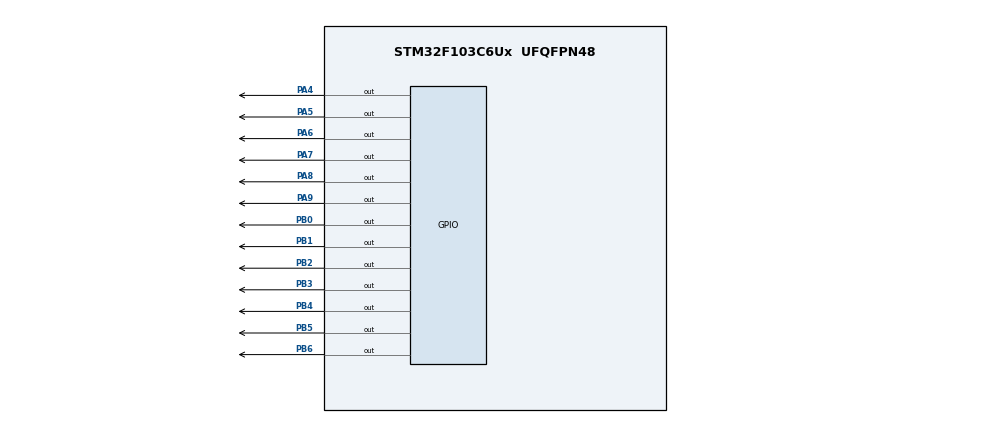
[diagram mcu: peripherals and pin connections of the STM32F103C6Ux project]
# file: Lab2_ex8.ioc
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Mcu.Family=STM32F1
Mcu.Name=STM32F103C6Ux
Mcu.Package=UFQFPN48
NVIC.PriorityGroup=NVIC_PRIORITYGROUP_4
NVIC.TIM2_IRQn=true\:0\:0\:false\:false\:true\:true\:true
PA4.Signal=GPIO_Output
PA5.Signal=GPIO_Output
PA6.Signal=GPIO_Output
PA7.Signal=GPIO_Output
PA8.Signal=GPIO_Output
PA9.Signal=GPIO_Output
PB0.Signal=GPIO_Output
PB1.Signal=GPIO_Output
PB2.Signal=GPIO_Output
PB3.Signal=GPIO_Output
PB4.Signal=GPIO_Output
PB5.Signal=GPIO_Output
PB6.Signal=GPIO_Output
ProjectManager.HeapSize=0x200
ProjectManager.StackSize=0x400
ProjectManager.TargetToolchain=STM32CubeIDE
RCC.APB1Freq_Value=8000000
RCC.APB2Freq_Value=8000000
TIM2.Period=249
TIM2.Prescaler=7999
VP_SYS_VS_ND.Mode=No_Debug
VP_TIM2_VS_ClockSourceINT.Mode=Internal
board=custom

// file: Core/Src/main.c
/* USER CODE BEGIN Header */
/**
  ******************************************************************************
  * @file           : main.c
  * @brief          : Main program body
  ******************************************************************************
  * @attention
  *
  * <h2><center>&copy; Copyright (c) 2025 STMicroelectronics.
  * All rights reserved.</center></h2>
  *
  * This software component is licensed by ST under BSD 3-Clause license,
  * the "License"; You may not use this file except in compliance with the
  * License. You may obtain a copy of the License at:
  *                        opensource.org/licenses/BSD-3-Clause
  *
  ******************************************************************************
  */
/* USER CODE END Header */
#include "main.h"

TIM_HandleTypeDef htim2;

void SystemClock_Config(void);
static void MX_GPIO_Init(void);
static void MX_TIM2_Init(void);

/* USER CODE BEGIN 0 */
void display7SEG(uint8_t num){
	if (num > 9) return;
	switch (num)
	{
	case 0:
		HAL_GPIO_WritePin(GPIOB, GPIO_PIN_0, GPIO_PIN_RESET);
		HAL_GPIO_WritePin(GPIOB, GPIO_PIN_1, GPIO_PIN_RESET);
		HAL_GPIO_WritePin(GPIOB, GPIO_PIN_2, GPIO_PIN_RESET);
		HAL_GPIO_WritePin(GPIOB, GPIO_PIN_3, GPIO_PIN_RESET);
		HAL_GPIO_WritePin(GPIOB, GPIO_PIN_4, GPIO_PIN_RESET);
		HAL_GPIO_WritePin(GPIOB, GPIO_PIN_5, GPIO_PIN_RESET);
		HAL_GPIO_WritePin(GPIOB, GPIO_PIN_6, GPIO_PIN_SET);
		break;
	case 1:
		HAL_GPIO_WritePin(GPIOB, GPIO_PIN_0, GPIO_PIN_SET);
		HAL_GPIO_WritePin(GPIOB, GPIO_PIN_1, GPIO_PIN_RESET);
		HAL_GPIO_WritePin(GPIOB, GPIO_PIN_2, GPIO_PIN_RESET);
		HAL_GPIO_WritePin(GPIOB, GPIO_PIN_3, GPIO_PIN_SET);
		HAL_GPIO_WritePin(GPIOB, GPIO_PIN_4, GPIO_PIN_SET);
		HAL_GPIO_WritePin(GPIOB, GPIO_PIN_5, GPIO_PIN_SET);
		HAL_GPIO_WritePin(GPIOB, GPIO_PIN_6, GPIO_PIN_SET);
		break;
	case 2:
		HAL_GPIO_WritePin(GPIOB, GPIO_PIN_0, GPIO_PIN_RESET);
		HAL_GPIO_WritePin(GPIOB, GPIO_PIN_1, GPIO_PIN_RESET);
		HAL_GPIO_WritePin(GPIOB, GPIO_PIN_2, GPIO_PIN_SET);
		HAL_GPIO_WritePin(GPIOB, GPIO_PIN_3, GPIO_PIN_RESET);
		HAL_GPIO_WritePin(GPIOB, GPIO_PIN_4, GPIO_PIN_RESET);
		HAL_GPIO_WritePin(GPIOB, GPIO_PIN_5, GPIO_PIN_SET);
		HAL_GPIO_WritePin(GPIOB, GPIO_PIN_6, GPIO_PIN_RESET);
		break;
	case 3:
		HAL_GPIO_WritePin(GPIOB, GPIO_PIN_0, GPIO_PIN_RESET);
		HAL_GPIO_WritePin(GPIOB, GPIO_PIN_1, GPIO_PIN_RESET);
		HAL_GPIO_WritePin(GPIOB, GPIO_PIN_2, GPIO_PIN_RESET);
		HAL_GPIO_WritePin(GPIOB, GPIO_PIN_3, GPIO_PIN_RESET);
		HAL_GPIO_WritePin(GPIOB, GPIO_PIN_4, GPIO_PIN_SET);
		HAL_GPIO_WritePin(GPIOB, GPIO_PIN_5, GPIO_PIN_SET);
		HAL_GPIO_WritePin(GPIOB, GPIO_PIN_6, GPIO_PIN_RESET);
		break;
	case 4:
        HAL_GPIO_WritePin(GPIOB, GPIO_PIN_0, GPIO_PIN_SET);
        HAL_GPIO_WritePin(GPIOB, GPIO_PIN_1, GPIO_PIN_RESET);
        HAL_GPIO_WritePin(GPIOB, GPIO_PIN_2, GPIO_PIN_RESET);
        HAL_GPIO_WritePin(GPIOB, GPIO_PIN_3, GPIO_PIN_SET);
        HAL_GPIO_WritePin(GPIOB, GPIO_PIN_4, GPIO_PIN_SET);
        HAL_GPIO_WritePin(GPIOB, GPIO_PIN_5, GPIO_PIN_RESET);
        HAL_GPIO_WritePin(GPIOB, GPIO_PIN_6, GPIO_PIN_RESET);
        break;
	case 5:
		HAL_GPIO_WritePin(GPIOB, GPIO_PIN_0, GPIO_PIN_RESET);
		HAL_GPIO_WritePin(GPIOB, GPIO_PIN_1, GPIO_PIN_SET);
		HAL_GPIO_WritePin(GPIOB, GPIO_PIN_2, GPIO_PIN_RESET);
		HAL_GPIO_WritePin(GPIOB, GPIO_PIN_3, GPIO_PIN_RESET);
		HAL_GPIO_WritePin(GPIOB, GPIO_PIN_4, GPIO_PIN_SET);
		HAL_GPIO_WritePin(GPIOB, GPIO_PIN_5, GPIO_PIN_RESET);
		HAL_GPIO_WritePin(GPIOB, GPIO_PIN_6, GPIO_PIN_RESET);
		break;
	case 6:
		HAL_GPIO_WritePin(GPIOB, GPIO_PIN_0, GPIO_PIN_RESET);
		HAL_GPIO_WritePin(GPIOB, GPIO_PIN_1, GPIO_PIN_SET);
		HAL_GPIO_WritePin(GPIOB, GPIO_PIN_2, GPIO_PIN_RESET);
		HAL_GPIO_WritePin(GPIOB, GPIO_PIN_3, GPIO_PIN_RESET);
		HAL_GPIO_WritePin(GPIOB, GPIO_PIN_4, GPIO_PIN_RESET);
		HAL_GPIO_WritePin(GPIOB, GPIO_PIN_5, GPIO_PIN_RESET);
		HAL_GPIO_WritePin(GPIOB, GPIO_PIN_6, GPIO_PIN_RESET);
		break;
	case 7:
		HAL_GPIO_WritePin(GPIOB, GPIO_PIN_0, GPIO_PIN_RESET);
		HAL_GPIO_WritePin(GPIOB, GPIO_PIN_1, GPIO_PIN_RESET);
		HAL_GPIO_WritePin(GPIOB, GPIO_PIN_2, GPIO_PIN_RESET);
		HAL_GPIO_WritePin(GPIOB, GPIO_PIN_3, GPIO_PIN_SET);
		HAL_GPIO_WritePin(GPIOB, GPIO_PIN_4, GPIO_PIN_SET);
		HAL_GPIO_WritePin(GPIOB, GPIO_PIN_5, GPIO_PIN_SET);
		HAL_GPIO_WritePin(GPIOB, GPIO_PIN_6, GPIO_PIN_SET);
		break;
	case 8:
		HAL_GPIO_WritePin(GPIOB, GPIO_PIN_0, GPIO_PIN_RESET);
		HAL_GPIO_WritePin(GPIOB, GPIO_PIN_1, GPIO_PIN_RESET);
		HAL_GPIO_WritePin(GPIOB, GPIO_PIN_2, GPIO_PIN_RESET);
		HAL_GPIO_WritePin(GPIOB, GPIO_PIN_3, GPIO_PIN_RESET);
		HAL_GPIO_WritePin(GPIOB, GPIO_PIN_4, GPIO_PIN_RESET);
		HAL_GPIO_WritePin(GPIOB, GPIO_PIN_5, GPIO_PIN_RESET);
		HAL_GPIO_WritePin(GPIOB, GPIO_PIN_6, GPIO_PIN_RESET);
		break;
	case 9:
		HAL_GPIO_WritePin(GPIOB, GPIO_PIN_0, GPIO_PIN_RESET);
		HAL_GPIO_WritePin(GPIOB, GPIO_PIN_1, GPIO_PIN_RESET);
		HAL_GPIO_WritePin(GPIOB, GPIO_PIN_2, GPIO_PIN_RESET);
		HAL_GPIO_WritePin(GPIOB, GPIO_PIN_3, GPIO_PIN_RESET);
		HAL_GPIO_WritePin(GPIOB, GPIO_PIN_4, GPIO_PIN_SET);
		HAL_GPIO_WritePin(GPIOB, GPIO_PIN_5, GPIO_PIN_RESET);
		HAL_GPIO_WritePin(GPIOB, GPIO_PIN_6, GPIO_PIN_RESET);
		break;
	default:
		HAL_GPIO_WritePin(GPIOB, GPIO_PIN_0, GPIO_PIN_SET);
		HAL_GPIO_WritePin(GPIOB, GPIO_PIN_1, GPIO_PIN_SET);
		HAL_GPIO_WritePin(GPIOB, GPIO_PIN_2, GPIO_PIN_SET);
		HAL_GPIO_WritePin(GPIOB, GPIO_PIN_3, GPIO_PIN_SET);
		HAL_GPIO_WritePin(GPIOB, GPIO_PIN_4, GPIO_PIN_SET);
		HAL_GPIO_WritePin(GPIOB, GPIO_PIN_5, GPIO_PIN_SET);
		HAL_GPIO_WritePin(GPIOB, GPIO_PIN_6, GPIO_PIN_SET);
		break;
	}
}

const int MAX_LED = 4;
int index_led = 0;
int led_buffer[4];

void update7SEG(int index) {
	HAL_GPIO_WritePin(GPIOA, GPIO_PIN_6|GPIO_PIN_7|GPIO_PIN_8|GPIO_PIN_9, GPIO_PIN_SET);

	display7SEG(led_buffer[index]);

	switch(index){
		case 0: HAL_GPIO_WritePin(GPIOA, GPIO_PIN_6, GPIO_PIN_RESET); break;
		case 1: HAL_GPIO_WritePin(GPIOA, GPIO_PIN_7, GPIO_PIN_RESET); break;
		case 2: HAL_GPIO_WritePin(GPIOA, GPIO_PIN_8, GPIO_PIN_RESET); break;
		case 3: HAL_GPIO_WritePin(GPIOA, GPIO_PIN_9, GPIO_PIN_RESET); break;

	}
}

void updateClockBuffer(int hour, int minute)
{
    led_buffer[0] = (hour / 10) % 10;
    led_buffer[1] = hour % 10;
    led_buffer[2] = (minute / 10) % 10;
    led_buffer[3] = minute % 10;
}

int timer0_counter = 0;
int timer0_flag = 0;
int timer1_counter = 0;
int timer1_flag = 0;
int timer2_counter = 0;
int timer2_flag = 0;
int TIMER_CYCLE = 250;

void setTimer0(int duration) {
    timer0_counter = duration / TIMER_CYCLE;
    timer0_flag = 0;
}

void setTimer1(int duration) {
    timer1_counter = duration / TIMER_CYCLE;
    timer1_flag = 0;
}

void setTimer2(int duration) {
    timer2_counter = duration / TIMER_CYCLE;
    timer2_flag = 0;
}
void timer_run() {
    if (timer0_counter > 0) {
        timer0_counter--;
        if (timer0_counter <= 0) timer0_flag = 1;
    }
    if (timer1_counter > 0) {
        timer1_counter--;
        if (timer1_counter <= 0) timer1_flag = 1;
    }
    if (timer2_counter > 0) {
		timer2_counter--;
		if (timer2_counter <= 0) timer2_flag = 1;
	}
}

void HAL_TIM_PeriodElapsedCallback(TIM_HandleTypeDef *htim) {
	if (htim->Instance == TIM2) {
		timer_run();
	}
}
/* USER CODE END 0 */

int main(void)
{

  /* MCU Configuration--------------------------------------------------------*/

  /* Reset of all peripherals, Initializes the Flash interface and the Systick. */
  HAL_Init();

  /* Configure the system clock */
  SystemClock_Config();

  /* Initialize all configured peripherals */
  MX_GPIO_Init();
  MX_TIM2_Init();
  /* USER CODE BEGIN 2 */
  HAL_TIM_Base_Start_IT(&htim2);
  int hour = 20 , minute = 59 , second = 55;
  setTimer0(1000);
  setTimer1(250);
  setTimer2(500);
  updateClockBuffer(hour, minute);
  /* USER CODE END 2 */

  /* Infinite loop */
  /* USER CODE BEGIN WHILE */
  while (1)
  {
	  if (timer0_flag == 1) {
		  timer0_flag = 0;
		  setTimer0(1000);

		  second++;
		  if (second >= 60) {
			  second = 0;
			  minute++;
		  }
		  if (minute >= 60) {
			  minute = 0;
			  hour++;
		  }
			if (hour >= 24) {
			  hour = 0;
		  }

		  updateClockBuffer(hour, minute);

		  HAL_GPIO_TogglePin(GPIOA, GPIO_PIN_4);
	  }
	  if (timer1_flag == 1) {
		  timer1_flag = 0;
		  setTimer1(250);

		  update7SEG(index_led);
		  index_led++;
		  if (index_led >= MAX_LED) index_led = 0;
	  }
	  if (timer2_flag == 1) {
		  timer2_flag = 0;
		  setTimer2(500);
		  HAL_GPIO_TogglePin(GPIOA, GPIO_PIN_5);
	  }
    /* USER CODE END WHILE */

  }
}

void SystemClock_Config(void)
{
  RCC_OscInitTypeDef RCC_OscInitStruct = {0};
  RCC_ClkInitTypeDef RCC_ClkInitStruct = {0};

  /** Initializes the RCC Oscillators according to the specified parameters
  * in the RCC_OscInitTypeDef structure.
  */
  RCC_OscInitStruct.OscillatorType = RCC_OSCILLATORTYPE_HSI;
  RCC_OscInitStruct.HSIState = RCC_HSI_ON;
  RCC_OscInitStruct.HSICalibrationValue = RCC_HSICALIBRATION_DEFAULT;
  RCC_OscInitStruct.PLL.PLLState = RCC_PLL_NONE;
  if (HAL_RCC_OscConfig(&RCC_OscInitStruct) != HAL_OK)
  {
    Error_Handler();
  }
  /** Initializes the CPU, AHB and APB buses clocks
  */
  RCC_ClkInitStruct.ClockType = RCC_CLOCKTYPE_HCLK|RCC_CLOCKTYPE_SYSCLK
                              |RCC_CLOCKTYPE_PCLK1|RCC_CLOCKTYPE_PCLK2;
  RCC_ClkInitStruct.SYSCLKSource = RCC_SYSCLKSOURCE_HSI;
  RCC_ClkInitStruct.AHBCLKDivider = RCC_SYSCLK_DIV1;
  RCC_ClkInitStruct.APB1CLKDivider = RCC_HCLK_DIV1;
  RCC_ClkInitStruct.APB2CLKDivider = RCC_HCLK_DIV1;

  if (HAL_RCC_ClockConfig(&RCC_ClkInitStruct, FLASH_LATENCY_0) != HAL_OK)
  {
    Error_Handler();
  }
}

static void MX_TIM2_Init(void)
{

  TIM_ClockConfigTypeDef sClockSourceConfig = {0};
  TIM_MasterConfigTypeDef sMasterConfig = {0};

  htim2.Instance = TIM2;
  htim2.Init.Prescaler = 7999;
  htim2.Init.CounterMode = TIM_COUNTERMODE_UP;
  htim2.Init.Period = 249;
  htim2.Init.ClockDivision = TIM_CLOCKDIVISION_DIV1;
  htim2.Init.AutoReloadPreload = TIM_AUTORELOAD_PRELOAD_DISABLE;
  if (HAL_TIM_Base_Init(&htim2) != HAL_OK)
  {
    Error_Handler();
  }
  sClockSourceConfig.ClockSource = TIM_CLOCKSOURCE_INTERNAL;
  if (HAL_TIM_ConfigClockSource(&htim2, &sClockSourceConfig) != HAL_OK)
  {
    Error_Handler();
  }
  sMasterConfig.MasterOutputTrigger = TIM_TRGO_RESET;
  sMasterConfig.MasterSlaveMode = TIM_MASTERSLAVEMODE_DISABLE;
  if (HAL_TIMEx_MasterConfigSynchronization(&htim2, &sMasterConfig) != HAL_OK)
  {
    Error_Handler();
  }

}

static void MX_GPIO_Init(void)
{
  GPIO_InitTypeDef GPIO_InitStruct = {0};

  /* GPIO Ports Clock Enable */
  __HAL_RCC_GPIOA_CLK_ENABLE();
  __HAL_RCC_GPIOB_CLK_ENABLE();

  /*Configure GPIO pin Output Level */
  HAL_GPIO_WritePin(GPIOA, GPIO_PIN_4|GPIO_PIN_5|GPIO_PIN_6|GPIO_PIN_7
                          |GPIO_PIN_8|GPIO_PIN_9, GPIO_PIN_RESET);

  /*Configure GPIO pin Output Level */
  HAL_GPIO_WritePin(GPIOB, GPIO_PIN_0|GPIO_PIN_1|GPIO_PIN_2|GPIO_PIN_3
                          |GPIO_PIN_4|GPIO_PIN_5|GPIO_PIN_6, GPIO_PIN_RESET);

  /*Configure GPIO pins : PA4 PA5 PA6 PA7
                           PA8 PA9 */
  GPIO_InitStruct.Pin = GPIO_PIN_4|GPIO_PIN_5|GPIO_PIN_6|GPIO_PIN_7
                          |GPIO_PIN_8|GPIO_PIN_9;
  GPIO_InitStruct.Mode = GPIO_MODE_OUTPUT_PP;
  GPIO_InitStruct.Pull = GPIO_NOPULL;
  GPIO_InitStruct.Speed = GPIO_SPEED_FREQ_LOW;
  HAL_GPIO_Init(GPIOA, &GPIO_InitStruct);

  /*Configure GPIO pins : PB0 PB1 PB2 PB3
                           PB4 PB5 PB6 */
  GPIO_InitStruct.Pin = GPIO_PIN_0|GPIO_PIN_1|GPIO_PIN_2|GPIO_PIN_3
                          |GPIO_PIN_4|GPIO_PIN_5|GPIO_PIN_6;
  GPIO_InitStruct.Mode = GPIO_MODE_OUTPUT_PP;
  GPIO_InitStruct.Pull = GPIO_NOPULL;
  GPIO_InitStruct.Speed = GPIO_SPEED_FREQ_LOW;
  HAL_GPIO_Init(GPIOB, &GPIO_InitStruct);

}

void Error_Handler(void)
{
  __disable_irq();
  while (1)
  {
  }
}

/************************ (C) COPYRIGHT STMicroelectronics *****END OF FILE****/
